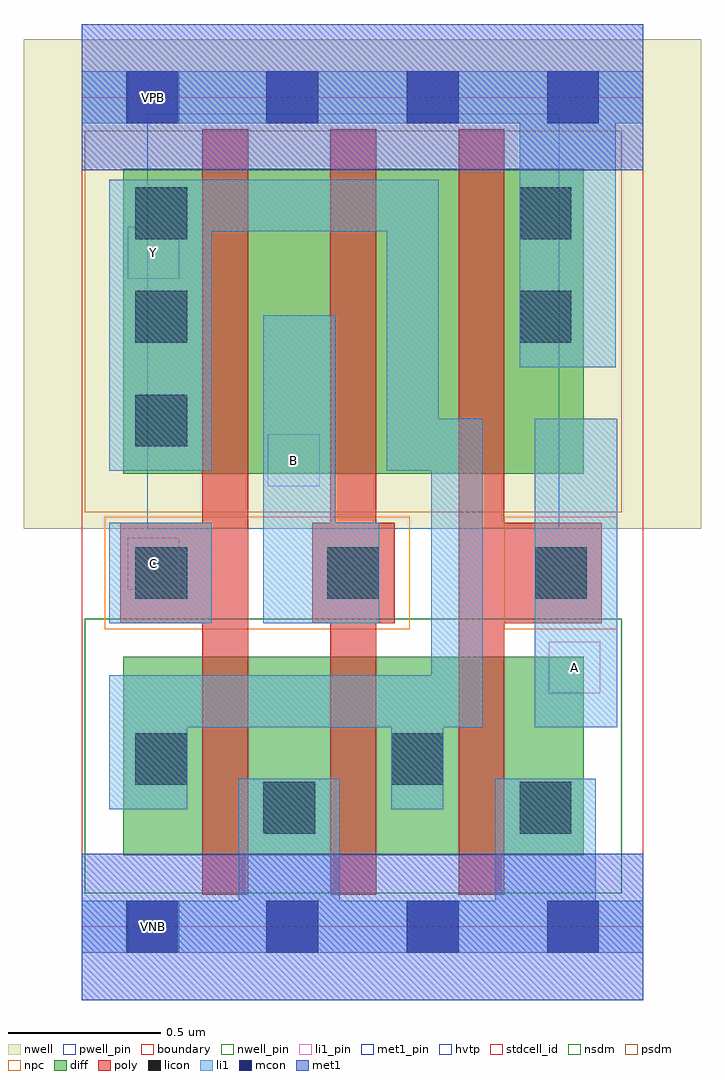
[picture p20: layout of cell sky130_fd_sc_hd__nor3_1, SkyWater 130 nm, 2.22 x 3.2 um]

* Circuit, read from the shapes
.subckt sky130_fd_sc_hd__nor3_1 A B C VGND VNB VPB VPWR Y
XM1 VGND C Y VNB sky130_fd_pr__nfet_01v8 w=0.65 l=0.15
XM2 Y B VGND VNB sky130_fd_pr__nfet_01v8 w=0.65 l=0.15
XM3 VGND A Y VNB sky130_fd_pr__nfet_01v8 w=0.65 l=0.15
XM4 n1 C Y VPB sky130_fd_pr__pfet_01v8_hvt w=1 l=0.15
XM5 n2 B n1 VPB sky130_fd_pr__pfet_01v8_hvt w=1 l=0.15
XM6 VPWR A n2 VPB sky130_fd_pr__pfet_01v8_hvt w=1 l=0.15
.ends

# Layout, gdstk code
import gdstk
lib = gdstk.Library(unit=1e-6, precision=1e-09)
def R(c, l, rs):  # rectangles x0, y0, x1, y1
    for r in rs: c.add(gdstk.rectangle(r[:2], r[2:], *l))
def A(c, l, x, y, w, h, nx, ny, dx, dy):  # array of equal rectangles
    R(c, l, [(x+i*dx, y+j*dy, x+i*dx+w, y+j*dy+h) for i in range(nx) for j in range(ny)])
nwell_pin = (64, 16)
nwell = (64, 20)
diff = (65, 20)
poly = (66, 20)
licon = (66, 44)
li1_pin = (67, 16)
li1 = (67, 20)
mcon = (67, 44)
met1_pin = (68, 16)
met1 = (68, 20)
hvtp = (78, 44)
stdcell_id = (81, 4)
nsdm = (93, 44)
psdm = (94, 20)
npc = (95, 20)
pwell_pin = (122, 16)
boundary = (235, 4)

sky130_fd_sc_hd__nor3_1 = lib.new_cell('sky130_fd_sc_hd__nor3_1')
R(sky130_fd_sc_hd__nor3_1, nwell_pin, [(0.15,2.635,0.32,2.805)])
R(sky130_fd_sc_hd__nor3_1, nwell, [(-0.19,1.305,2.03,2.91)])
R(sky130_fd_sc_hd__nor3_1, diff, [(0.135,0.235,1.645,0.885), (0.135,1.485,1.645,2.485)])
A(sky130_fd_sc_hd__nor3_1, poly, 0.395, 0.105, 0.15, 0.89, 3, 1, 0.42, 0)
A(sky130_fd_sc_hd__nor3_1, poly, 0.395, 1.325, 0.15, 1.29, 3, 1, 0.42, 0)
R(sky130_fd_sc_hd__nor3_1, poly, [(0.125,0.995,0.545,1.325), (0.755,0.995,1.025,1.325), (1.235,0.995,1.705,1.325)])
A(sky130_fd_sc_hd__nor3_1, licon, 0.175, 1.575, 0.17, 0.17, 1, 3, 0, 0.34)
R(sky130_fd_sc_hd__nor3_1, licon, [(0.595,0.305,0.765,0.475), (1.435,0.305,1.605,0.475), (0.175,0.465,0.345,0.635), (1.015,0.465,1.185,0.635), (0.175,1.075,0.345,1.245), (0.805,1.075,0.975,1.245), (1.485,1.075,1.655,1.245), (1.435,1.915,1.605,2.085), (1.435,2.255,1.605,2.425)])
R(sky130_fd_sc_hd__nor3_1, li1_pin, [(1.53,0.765,1.7,0.935), (0.15,1.105,0.32,1.275), (0.61,1.445,0.78,1.615), (0.15,2.125,0.32,2.295)])
R(sky130_fd_sc_hd__nor3_1, li1, [(0,-0.085,1.84,0.085), (0.515,0.085,0.845,0.485), (1.355,0.085,1.685,0.485), (0.09,0.385,0.345,0.655), (1.015,0.385,1.185,0.655), (0.09,0.655,1.315,0.825), (1.485,0.655,1.755,1.665), (1.145,0.825,1.315,1.495), (0.09,0.995,0.425,1.325), (0.595,0.995,0.975,1.325), (0.595,1.325,0.83,2.005), (0.09,1.495,0.425,2.28), (1,1.495,1.315,1.665), (1,1.665,1.17,2.28), (1.435,1.835,1.75,2.635), (0.09,2.28,1.17,2.45), (0,2.635,1.84,2.805)])
A(sky130_fd_sc_hd__nor3_1, mcon, 0.145, -0.085, 0.17, 0.17, 4, 2, 0.46, 2.72)
R(sky130_fd_sc_hd__nor3_1, met1_pin, [(0.15,-0.085,0.32,0.085), (0.15,2.635,0.32,2.805)])
R(sky130_fd_sc_hd__nor3_1, met1, [(0,-0.24,1.84,0.24), (0,2.48,1.84,2.96)])
R(sky130_fd_sc_hd__nor3_1, hvtp, [(0.215,1.305,1.565,2.665)])
R(sky130_fd_sc_hd__nor3_1, stdcell_id, [(0,0,1.84,2.72)])
R(sky130_fd_sc_hd__nor3_1, nsdm, [(0.01,0.11,1.77,1.01)])
R(sky130_fd_sc_hd__nor3_1, psdm, [(0.01,1.36,1.77,2.61)])
R(sky130_fd_sc_hd__nor3_1, npc, [(0.075,0.975,1.075,1.345), (1.385,0.975,1.755,1.345)])
R(sky130_fd_sc_hd__nor3_1, pwell_pin, [(0.15,-0.085,0.32,0.085)])
R(sky130_fd_sc_hd__nor3_1, boundary, [(0,0,1.84,2.72)])
sky130_fd_sc_hd__nor3_1.add(gdstk.Label('VPB', (0.235,2.72), layer=64, texttype=5))
sky130_fd_sc_hd__nor3_1.add(gdstk.Label('VNB', (0.235,0), layer=64, texttype=59))
sky130_fd_sc_hd__nor3_1.add(gdstk.Label('VGND', (0.235,0), layer=68, texttype=5))
sky130_fd_sc_hd__nor3_1.add(gdstk.Label('VPWR', (0.235,2.72), layer=68, texttype=5))
sky130_fd_sc_hd__nor3_1.add(gdstk.Label('C', (0.235,1.19), layer=67, texttype=5))
sky130_fd_sc_hd__nor3_1.add(gdstk.Label('B', (0.695,1.53), layer=67, texttype=5))
sky130_fd_sc_hd__nor3_1.add(gdstk.Label('A', (1.615,0.85), layer=67, texttype=5))
sky130_fd_sc_hd__nor3_1.add(gdstk.Label('Y', (0.235,2.21), layer=67, texttype=5))

lib.write_gds('sky130_fd_sc_hd__nor3_1.gds')
